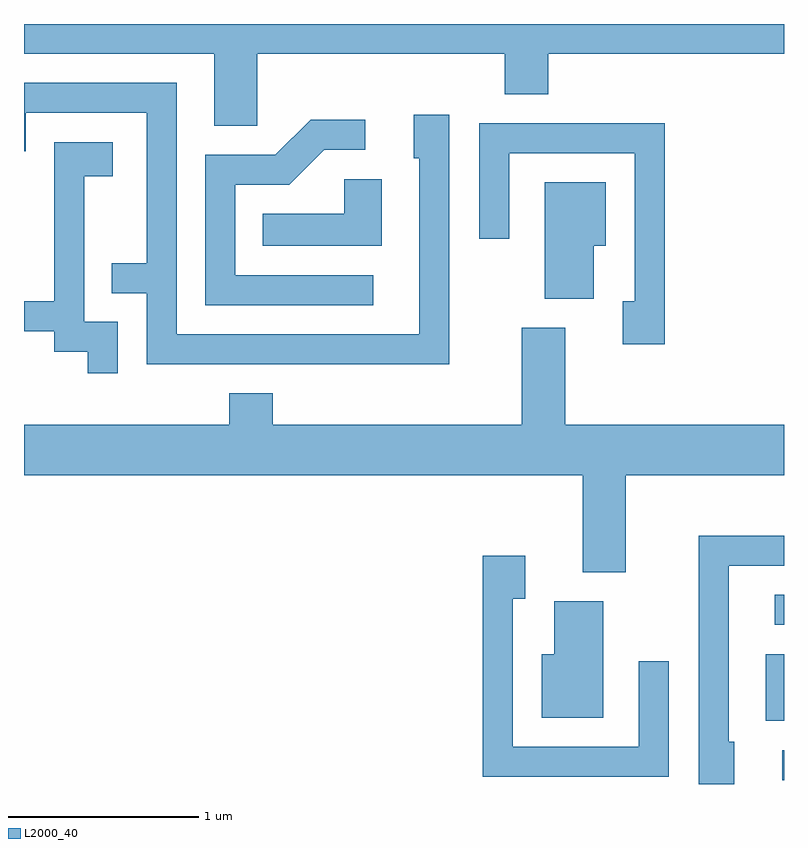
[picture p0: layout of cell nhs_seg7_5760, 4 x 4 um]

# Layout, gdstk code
import gdstk
lib = gdstk.Library(unit=1e-6, precision=1e-09)
def R(c, l, rs):  # rectangles x0, y0, x1, y1
    for r in rs: c.add(gdstk.rectangle(r[:2], r[2:], *l))
def P(c, l, *ps):  # polygons
    for p in ps: c.add(gdstk.Polygon(p, *l))
L2000_40 = (2000, 40)

nhs_seg7_5760 = lib.new_cell('nhs_seg7_5760')
R(nhs_seg7_5760, L2000_40, [(365.603,1708.271,365.611,1708.429), (365.516,1708.586,365.611,1708.934), (365.563,1709.091,365.611,1709.249)])
P(nhs_seg7_5760, L2000_40, [(362.839,1712.096),(364.141,1712.096),(364.141,1711.881),(364.369,1711.881),(364.369,1712.096),(365.611,1712.096),(365.611,1712.252),(361.611,1712.252),(361.611,1712.096),(362.611,1712.096),(362.611,1711.716),(362.839,1711.716)],
  [(363.849,1711.774),(363.661,1711.774),(363.661,1711.546),(363.691,1711.546),(363.691,1710.619),(362.414,1710.619),(362.414,1711.944),(361.611,1711.944),(361.611,1711.581),(361.619,1711.581),(361.619,1711.786),(362.256,1711.786),(362.256,1710.994),(362.073,1710.994),(362.073,1710.836),(362.256,1710.836),(362.256,1710.461),(363.849,1710.461)],
  [(363.448,1710.929),(362.724,1710.929),(362.724,1711.406),(363.007,1711.406),(363.192,1711.591),(363.408,1711.591),(363.408,1711.749),(363.119,1711.749),(362.934,1711.564),(362.566,1711.564),(362.566,1710.771),(363.448,1710.771)],
  [(364.984,1711.729),(364.006,1711.729),(364.006,1711.123),(364.164,1711.123),(364.164,1711.571),(364.826,1711.571),(364.826,1710.794),(364.761,1710.794),(364.761,1710.566),(364.984,1710.566)],
  [(362.104,1710.684),(361.929,1710.684),(361.929,1711.451),(362.079,1711.451),(362.079,1711.629),(361.771,1711.629),(361.771,1710.794),(361.611,1710.794),(361.611,1710.636),(361.771,1710.636),(361.771,1710.526),(361.946,1710.526),(361.946,1710.413),(362.104,1710.413)],
  [(363.494,1711.434),(363.296,1711.434),(363.296,1711.254),(362.868,1711.254),(362.868,1711.086),(363.494,1711.086)],
  [(364.609,1711.086),(364.674,1711.086),(364.674,1711.419),(364.351,1711.419),(364.351,1710.806),(364.609,1710.806)],
  [(364.779,1709.876),(365.611,1709.876),(365.611,1710.144),(364.459,1710.144),(364.459,1710.654),(364.231,1710.654),(364.231,1710.144),(362.919,1710.144),(362.919,1710.309),(362.691,1710.309),(362.691,1710.144),(361.611,1710.144),(361.611,1709.876),(364.551,1709.876),(364.551,1709.366),(364.779,1709.366)],
  [(365.349,1708.474),(365.319,1708.474),(365.319,1709.401),(365.611,1709.401),(365.611,1709.559),(365.161,1709.559),(365.161,1708.252),(365.349,1708.252)],
  [(365.004,1708.898),(364.846,1708.898),(364.846,1708.449),(364.184,1708.449),(364.184,1709.226),(364.249,1709.226),(364.249,1709.454),(364.026,1709.454),(364.026,1708.291),(365.004,1708.291)],
  [(364.659,1709.214),(364.401,1709.214),(364.401,1708.934),(364.336,1708.934),(364.336,1708.601),(364.659,1708.601)])

lib.write_gds('nhs_seg7_5760.gds')
